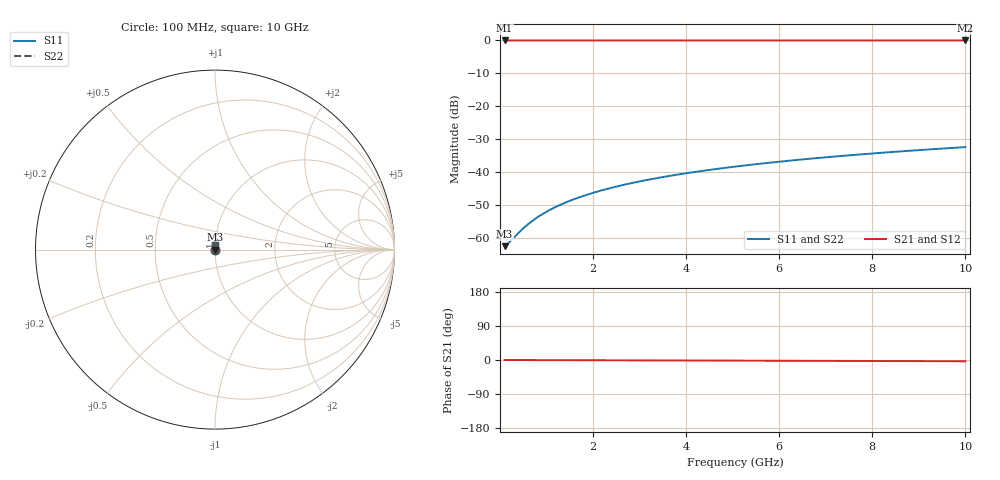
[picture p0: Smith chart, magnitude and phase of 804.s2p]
# Hz S RI R 50.00
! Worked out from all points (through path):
!   100 points, 100 MHz to 10 GHz, reference 50 ohm
!   highest |S21| = -0.01 dB at 100 MHz (marker M1); lowest = 0.0 dB at 10 GHz (marker M2)
!   lowest |S11| = -62.4 dB at 100 MHz (marker M3), VSWR 1.00, Z = 50.1 + j0.024 ohm
!   |S11| at or under -10 dB: start of sweep to end of sweep
!   |S22| runs from -62.4 to -32.4 dB; largest |S21 - S12| = 0
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1e8  0.000715 0.00024  0.9993 -0.000579  0.9993 -0.000579  0.000715 0.00024
2e8  0.00072 0.00048  0.9993 -0.00116  0.9993 -0.00116  0.00072 0.00048
4e8  0.000728 0.000959  0.9993 -0.00232  0.9993 -0.00232  0.000728 0.000959
5e8  0.000732 0.0012  0.9993 -0.0029  0.9993 -0.0029  0.000732 0.0012
6e8  0.000735 0.00144  0.9993 -0.00347  0.9993 -0.00347  0.000735 0.00144
7e8  0.000739 0.00168  0.9993 -0.00405  0.9993 -0.00405  0.000739 0.00168
9e8  0.000746 0.00216  0.9992 -0.00521  0.9992 -0.00521  0.000746 0.00216
1.1e9  0.000755 0.00264  0.9992 -0.00637  0.9992 -0.00637  0.000755 0.00264
1.3e9  0.000764 0.00312  0.9992 -0.00753  0.9992 -0.00753  0.000764 0.00312
1.5e9  0.000774 0.0036  0.9992 -0.00869  0.9992 -0.00869  0.000774 0.0036
1.8e9  0.00079 0.00431  0.9992 -0.0104  0.9992 -0.0104  0.00079 0.00431
2.1e9  0.000809 0.00503  0.9992 -0.0122  0.9992 -0.0122  0.000809 0.00503
2.5e9  0.000838 0.00599  0.9991 -0.0145  0.9991 -0.0145  0.000838 0.00599
2.9e9  0.000871 0.00695  0.9991 -0.0168  0.9991 -0.0168  0.000871 0.00695
3.4e9  0.000918 0.00815  0.999 -0.0197  0.999 -0.0197  0.000918 0.00815
4.2e9  0.00101 0.0101  0.9989 -0.0243  0.9989 -0.0243  0.00101 0.0101
5.1e9  0.00113 0.0122  0.9987 -0.0296  0.9987 -0.0296  0.00113 0.0122
5.9e9  0.00126 0.0141  0.9985 -0.0342  0.9985 -0.0342  0.00126 0.0141
6.7e9  0.0014 0.0161  0.9983 -0.0388  0.9983 -0.0388  0.0014 0.0161
7.5e9  0.00156 0.018  0.9981 -0.0435  0.9981 -0.0435  0.00156 0.018
8.4e9  0.00177 0.0201  0.9978 -0.0487  0.9978 -0.0487  0.00177 0.0201
1e10  0.00219 0.024  0.9972 -0.058  0.9972 -0.058  0.00219 0.024
